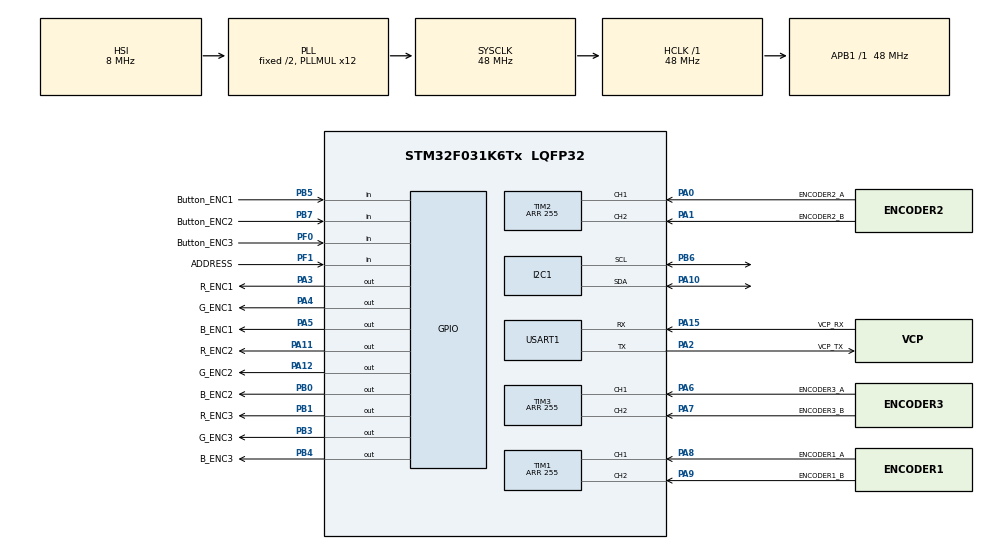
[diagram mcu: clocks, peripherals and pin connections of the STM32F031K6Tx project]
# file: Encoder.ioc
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Dma.I2C1_RX.0.Direction=DMA_PERIPH_TO_MEMORY
Dma.I2C1_RX.0.Instance=DMA1_Channel3
Dma.I2C1_RX.0.MemDataAlignment=DMA_MDATAALIGN_BYTE
Dma.I2C1_RX.0.MemInc=DMA_MINC_ENABLE
Dma.I2C1_RX.0.Mode=DMA_CIRCULAR
Dma.I2C1_RX.0.PeriphDataAlignment=DMA_PDATAALIGN_BYTE
Dma.I2C1_RX.0.PeriphInc=DMA_PINC_DISABLE
Dma.I2C1_RX.0.Priority=DMA_PRIORITY_VERY_HIGH
Dma.I2C1_TX.1.Direction=DMA_MEMORY_TO_PERIPH
Dma.I2C1_TX.1.Instance=DMA1_Channel2
Dma.I2C1_TX.1.MemDataAlignment=DMA_MDATAALIGN_BYTE
Dma.I2C1_TX.1.MemInc=DMA_MINC_ENABLE
Dma.I2C1_TX.1.Mode=DMA_CIRCULAR
Dma.I2C1_TX.1.PeriphDataAlignment=DMA_PDATAALIGN_BYTE
Dma.I2C1_TX.1.PeriphInc=DMA_PINC_DISABLE
Dma.I2C1_TX.1.Priority=DMA_PRIORITY_VERY_HIGH
Dma.Request0=I2C1_RX
Dma.Request1=I2C1_TX
FREERTOS.HEAP_NUMBER=4
FREERTOS.Tasks01=LED,0,96,ENCODER_TASK,Default,NULL,Dynamic,NULL,NULL
FREERTOS.configTOTAL_HEAP_SIZE=1000
FREERTOS.configUSE_CO_ROUTINES=1
I2C1.Analog_Filter=I2C_ANALOGFILTER_DISABLE
I2C1.GeneralCallMode=I2C_GENERALCALL_ENABLE
I2C1.NoStretchMode=I2C_NOSTRETCH_ENABLE
I2C1.OwnAddress=30
I2C1.Timing=0x00101D2D
Mcu.Family=STM32F0
Mcu.Name=STM32F031K6Tx
Mcu.Package=LQFP32
NVIC.DMA1_Channel2_3_IRQn=true\:3\:0\:false\:false\:true\:true\:false\:true
NVIC.I2C1_IRQn=true\:3\:0\:false\:false\:true\:true\:true\:true
NVIC.TIM14_IRQn=true\:0\:0\:false\:false\:true\:false\:false\:true
NVIC.TimeBase=TIM14_IRQn
NVIC.TimeBaseIP=TIM14
PA0.GPIO_Label=ENCODER2_A
PA0.GPIO_PuPd=GPIO_PULLUP
PA0.Signal=S_TIM2_CH1_ETR
PA1.GPIO_Label=ENCODER2_B
PA1.GPIO_PuPd=GPIO_PULLUP
PA1.Signal=S_TIM2_CH2
PA10.Mode=I2C
PA10.Signal=I2C1_SDA
PA11.GPIO_Label=R_ENC2
PA11.Signal=GPIO_Output
PA12.GPIO_Label=G_ENC2
PA12.Signal=GPIO_Output
PA13.GPIO_Label=SWDIO
PA13.Mode=Serial_Wire
PA13.Signal=SYS_SWDIO
PA14.GPIO_Label=SWCLK
PA14.Mode=Serial_Wire
PA14.Signal=SYS_SWCLK
PA15.GPIO_Label=VCP_RX
PA15.Mode=Asynchronous
PA15.Signal=USART1_RX
PA2.GPIO_Label=VCP_TX
PA2.Mode=Asynchronous
PA2.Signal=USART1_TX
PA3.GPIO_Label=R_ENC1
PA3.Signal=GPIO_Output
PA4.GPIO_Label=G_ENC1
PA4.Signal=GPIO_Output
PA5.GPIO_Label=B_ENC1
PA5.Signal=GPIO_Output
PA6.GPIO_Label=ENCODER3_A
PA6.GPIO_PuPd=GPIO_PULLUP
PA6.Signal=S_TIM3_CH1
PA7.GPIO_Label=ENCODER3_B
PA7.GPIO_PuPd=GPIO_PULLUP
PA7.Signal=S_TIM3_CH2
PA8.GPIO_Label=ENCODER1_A
PA8.GPIO_PuPd=GPIO_PULLUP
PA8.Signal=S_TIM1_CH1
PA9.GPIO_Label=ENCODER1_B
PA9.GPIO_PuPd=GPIO_PULLUP
PA9.Signal=S_TIM1_CH2
PB0.GPIO_Label=B_ENC2
PB0.Signal=GPIO_Output
PB1.GPIO_Label=R_ENC3
PB1.Signal=GPIO_Output
PB3.GPIO_Label=G_ENC3
PB3.Signal=GPIO_Output
PB4.GPIO_Label=B_ENC3
PB4.Signal=GPIO_Output
PB5.GPIO_Label=Button_ENC1
PB5.Signal=GPIO_Input
PB6.Mode=I2C
PB6.Signal=I2C1_SCL
PB7.GPIO_Label=Button_ENC2
PB7.Signal=GPIO_Input
PF0-OSC_IN.GPIO_Label=Button_ENC3
PF0-OSC_IN.Signal=GPIO_Input
PF1-OSC_OUT.GPIO_Label=ADDRESS
PF1-OSC_OUT.Signal=GPIO_Input
ProjectManager.HeapSize=0x200
ProjectManager.StackSize=0x400
ProjectManager.TargetToolchain=SW4STM32
RCC.AHBFreq_Value=48000000
RCC.APB1Freq_Value=48000000
RCC.APB1TimFreq_Value=48000000
RCC.HCLKFreq_Value=48000000
RCC.PLLMUL=RCC_PLL_MUL12
RCC.SYSCLKFreq_VALUE=48000000
RCC.SYSCLKSource=RCC_SYSCLKSOURCE_PLLCLK
SH.S_TIM1_CH1.0=TIM1_CH1,Encoder_Interface
SH.S_TIM1_CH2.0=TIM1_CH2,Encoder_Interface
SH.S_TIM2_CH1_ETR.0=TIM2_CH1,Encoder_Interface
SH.S_TIM2_CH2.0=TIM2_CH2,Encoder_Interface
SH.S_TIM3_CH1.0=TIM3_CH1,Encoder_Interface
SH.S_TIM3_CH2.0=TIM3_CH2,Encoder_Interface
TIM1.EncoderMode=TIM_ENCODERMODE_TI12
TIM1.IC1Filter=0
TIM1.IC1Polarity=TIM_ICPOLARITY_FALLING
TIM1.IC2Filter=0
TIM1.IC2Polarity=TIM_ICPOLARITY_FALLING
TIM1.Period=255
TIM16.Period=10000
TIM16.Prescaler=48
TIM2.EncoderMode=TIM_ENCODERMODE_TI12
TIM2.IC1Filter=0
TIM2.IC1Polarity=TIM_ICPOLARITY_FALLING
TIM2.IC2Polarity=TIM_ICPOLARITY_FALLING
TIM2.Period=255
TIM3.IC1Filter=0
TIM3.IC1Polarity=TIM_ICPOLARITY_FALLING
TIM3.IC2Filter=0
TIM3.IC2Polarity=TIM_ICPOLARITY_FALLING
TIM3.Period=255
USART1.VirtualMode-Asynchronous=VM_ASYNC
VP_FREERTOS_VS_CMSIS_V1.Mode=CMSIS_V1
VP_SYS_VS_tim14.Mode=TIM14
VP_TIM16_VS_ClockSourceINT.Mode=Enable_Timer
board=NUCLEO-F031K6

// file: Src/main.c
/* USER CODE BEGIN Header */
/**
  ******************************************************************************
  * @file           : main.c
  * @brief          : Main program body
  ******************************************************************************
  * @attention
  *
  * <h2><center>&copy; Copyright (c) 2019 STMicroelectronics.
  * All rights reserved.</center></h2>
  *
  * This software component is licensed by ST under Ultimate Liberty license
  * SLA0044, the "License"; You may not use this file except in compliance with
  * the License. You may obtain a copy of the License at:
  *                             www.st.com/SLA0044
  *
  ******************************************************************************
  */
/* USER CODE END Header */

#include "main.h"
#include "cmsis_os.h"

I2C_HandleTypeDef hi2c1;
DMA_HandleTypeDef hdma_i2c1_rx;
DMA_HandleTypeDef hdma_i2c1_tx;

TIM_HandleTypeDef htim1;
TIM_HandleTypeDef htim2;
TIM_HandleTypeDef htim3;
TIM_HandleTypeDef htim16;

UART_HandleTypeDef huart1;

osThreadId LEDHandle;

void SystemClock_Config(void);
static void MX_GPIO_Init(void);
static void MX_I2C1_Init(void);
static void MX_TIM1_Init(void);
static void MX_TIM2_Init(void);
static void MX_TIM3_Init(void);
static void MX_USART1_UART_Init(void);
static void MX_TIM16_Init(void);
static void MX_DMA_Init(void);
void ENCODER_TASK(void const * argument);

/* USER CODE BEGIN 0 */
uint32_t ENC1;
uint32_t ENC2;
uint32_t ENC3;

uint8_t R_ENC1 = 100;
uint8_t G_ENC1 = 50;
uint8_t B_ENC1 = 0;

uint8_t R_ENC2 = 100;
uint8_t G_ENC2 = 50;
uint8_t B_ENC2 = 0;

uint8_t R_ENC3 = 100;
uint8_t G_ENC3 = 50;
uint8_t B_ENC3 = 0;

uint8_t I2C_data = 0;

uint8_t aTxBuffer[] = "ENCODER123";

/* Buffer used for reception */
uint8_t aRxBuffer[10];

//uint32_t Encoder_CODE;
uint8_t buttonstate;

int adress=0;
/* USER CODE END 0 */

int main(void)
{

  /* MCU Configuration--------------------------------------------------------*/

  /* Reset of all peripherals, Initializes the Flash interface and the Systick. */
  HAL_Init();

  /* Configure the system clock */
  SystemClock_Config();

  /* Initialize all configured peripherals */
  MX_GPIO_Init();

  adress = HAL_GPIO_ReadPin(GPIOF,ADDRESS_Pin);

  MX_I2C1_Init();
  MX_TIM1_Init();
  MX_TIM2_Init();
  MX_TIM3_Init();
  MX_USART1_UART_Init();
  MX_TIM16_Init();
  MX_DMA_Init();
  /* USER CODE BEGIN 2 */

  HAL_TIM_Encoder_Start(&htim1,TIM_CHANNEL_ALL);
  HAL_TIM_Encoder_Start(&htim2,TIM_CHANNEL_ALL);
  HAL_TIM_Encoder_Start(&htim3,TIM_CHANNEL_ALL);

  //HAL_I2C_Slave_Transmit_DMA(&hi2c1,aTxBuffer,1);

  /* USER CODE END 2 */

  /* Create the thread(s) */
  /* definition and creation of LED */
  osThreadDef(LED, ENCODER_TASK, osPriorityNormal, 0, 96);
  LEDHandle = osThreadCreate(osThread(LED), NULL);

  /* Start scheduler */
  osKernelStart();

  /* We should never get here as control is now taken by the scheduler */

  /* Infinite loop */
  while (1)
  {

  }
}

void SystemClock_Config(void)
{
  RCC_OscInitTypeDef RCC_OscInitStruct = {0};
  RCC_ClkInitTypeDef RCC_ClkInitStruct = {0};
  RCC_PeriphCLKInitTypeDef PeriphClkInit = {0};

  /** Initializes the CPU, AHB and APB busses clocks
  */
  RCC_OscInitStruct.OscillatorType = RCC_OSCILLATORTYPE_HSI;
  RCC_OscInitStruct.HSIState = RCC_HSI_ON;
  RCC_OscInitStruct.HSICalibrationValue = RCC_HSICALIBRATION_DEFAULT;
  RCC_OscInitStruct.PLL.PLLState = RCC_PLL_ON;
  RCC_OscInitStruct.PLL.PLLSource = RCC_PLLSOURCE_HSI;
  RCC_OscInitStruct.PLL.PLLMUL = RCC_PLL_MUL12;
  RCC_OscInitStruct.PLL.PREDIV = RCC_PREDIV_DIV1;
  if (HAL_RCC_OscConfig(&RCC_OscInitStruct) != HAL_OK)
  {
    Error_Handler();
  }
  /** Initializes the CPU, AHB and APB busses clocks
  */
  RCC_ClkInitStruct.ClockType = RCC_CLOCKTYPE_HCLK|RCC_CLOCKTYPE_SYSCLK
                              |RCC_CLOCKTYPE_PCLK1;
  RCC_ClkInitStruct.SYSCLKSource = RCC_SYSCLKSOURCE_PLLCLK;
  RCC_ClkInitStruct.AHBCLKDivider = RCC_SYSCLK_DIV1;
  RCC_ClkInitStruct.APB1CLKDivider = RCC_HCLK_DIV1;

  if (HAL_RCC_ClockConfig(&RCC_ClkInitStruct, FLASH_LATENCY_1) != HAL_OK)
  {
    Error_Handler();
  }
  PeriphClkInit.PeriphClockSelection = RCC_PERIPHCLK_USART1|RCC_PERIPHCLK_I2C1;
  PeriphClkInit.Usart1ClockSelection = RCC_USART1CLKSOURCE_PCLK1;
  PeriphClkInit.I2c1ClockSelection = RCC_I2C1CLKSOURCE_HSI;
  if (HAL_RCCEx_PeriphCLKConfig(&PeriphClkInit) != HAL_OK)
  {
    Error_Handler();
  }
}

static void MX_I2C1_Init(void)
{

  /* USER CODE BEGIN I2C1_Init 0 */
	int ownAddress1 = 0;
	if (adress == 0){
		ownAddress1 = 40;
	}
	if (adress == 1){
		ownAddress1 = 30;
	}

  /* USER CODE END I2C1_Init 0 */

  hi2c1.Instance = I2C1;
  hi2c1.Init.Timing = 0x00101D2D;
  hi2c1.Init.OwnAddress1 = ownAddress1;
  hi2c1.Init.AddressingMode = I2C_ADDRESSINGMODE_7BIT;
  hi2c1.Init.DualAddressMode = I2C_DUALADDRESS_DISABLE;
  hi2c1.Init.OwnAddress2 = 0;
  hi2c1.Init.OwnAddress2Masks = I2C_OA2_NOMASK;
  hi2c1.Init.GeneralCallMode = I2C_GENERALCALL_ENABLE;
  hi2c1.Init.NoStretchMode = I2C_NOSTRETCH_ENABLE;
  if (HAL_I2C_Init(&hi2c1) != HAL_OK)
  {
    Error_Handler();
  }
  /** Configure Analogue filter
  */
  if (HAL_I2CEx_ConfigAnalogFilter(&hi2c1, I2C_ANALOGFILTER_ENABLE) != HAL_OK)
  {
    Error_Handler();
  }
  /** Configure Digital filter
  */
  if (HAL_I2CEx_ConfigDigitalFilter(&hi2c1, 0) != HAL_OK)
  {
    Error_Handler();
  }

}

static void MX_TIM1_Init(void)
{

  TIM_Encoder_InitTypeDef sConfig = {0};
  TIM_MasterConfigTypeDef sMasterConfig = {0};

  htim1.Instance = TIM1;
  htim1.Init.Prescaler = 0;
  htim1.Init.CounterMode = TIM_COUNTERMODE_UP;
  htim1.Init.Period = 1024;
  htim1.Init.ClockDivision = TIM_CLOCKDIVISION_DIV1;
  //htim1.Init.RepetitionCounter = 0;
  htim1.Init.AutoReloadPreload = TIM_AUTORELOAD_PRELOAD_DISABLE;
  sConfig.EncoderMode = TIM_ENCODERMODE_TI12;
  sConfig.IC1Polarity = TIM_ICPOLARITY_FALLING;
  sConfig.IC1Selection = TIM_ICSELECTION_DIRECTTI;
  sConfig.IC1Prescaler = TIM_ICPSC_DIV1;
  sConfig.IC1Filter = 0;
  sConfig.IC2Polarity = TIM_ICPOLARITY_FALLING;
  sConfig.IC2Selection = TIM_ICSELECTION_DIRECTTI;
  sConfig.IC2Prescaler = TIM_ICPSC_DIV1;
  sConfig.IC2Filter = 0;
  if (HAL_TIM_Encoder_Init(&htim1, &sConfig) != HAL_OK)
  {
    Error_Handler();
  }
  sMasterConfig.MasterOutputTrigger = TIM_TRGO_RESET;
  sMasterConfig.MasterSlaveMode = TIM_MASTERSLAVEMODE_DISABLE;
  if (HAL_TIMEx_MasterConfigSynchronization(&htim1, &sMasterConfig) != HAL_OK)
  {
    Error_Handler();
  }

}

static void MX_TIM2_Init(void)
{

  TIM_Encoder_InitTypeDef sConfig = {0};
  TIM_MasterConfigTypeDef sMasterConfig = {0};

  htim2.Instance = TIM2;
  htim2.Init.Prescaler = 0;
  htim2.Init.CounterMode = TIM_COUNTERMODE_UP;
  htim2.Init.Period = 1024;
  htim2.Init.ClockDivision = TIM_CLOCKDIVISION_DIV1;
  htim2.Init.AutoReloadPreload = TIM_AUTORELOAD_PRELOAD_DISABLE;
  sConfig.EncoderMode = TIM_ENCODERMODE_TI12;
  sConfig.IC1Polarity = TIM_ICPOLARITY_FALLING;
  sConfig.IC1Selection = TIM_ICSELECTION_DIRECTTI;
  sConfig.IC1Prescaler = TIM_ICPSC_DIV1;
  sConfig.IC1Filter = 0;
  sConfig.IC2Polarity = TIM_ICPOLARITY_FALLING;
  sConfig.IC2Selection = TIM_ICSELECTION_DIRECTTI;
  sConfig.IC2Prescaler = TIM_ICPSC_DIV1;
  sConfig.IC2Filter = 0;
  if (HAL_TIM_Encoder_Init(&htim2, &sConfig) != HAL_OK)
  {
    Error_Handler();
  }
  sMasterConfig.MasterOutputTrigger = TIM_TRGO_RESET;
  sMasterConfig.MasterSlaveMode = TIM_MASTERSLAVEMODE_DISABLE;
  if (HAL_TIMEx_MasterConfigSynchronization(&htim2, &sMasterConfig) != HAL_OK)
  {
    Error_Handler();
  }

}

static void MX_TIM3_Init(void)
{

  TIM_Encoder_InitTypeDef sConfig = {0};
  TIM_MasterConfigTypeDef sMasterConfig = {0};

  htim3.Instance = TIM3;
  htim3.Init.Prescaler = 0;
  htim3.Init.CounterMode = TIM_COUNTERMODE_UP;
  htim3.Init.Period = 1024;
  htim3.Init.ClockDivision = TIM_CLOCKDIVISION_DIV1;
  htim3.Init.AutoReloadPreload = TIM_AUTORELOAD_PRELOAD_DISABLE;
  sConfig.EncoderMode = TIM_ENCODERMODE_TI12;
  sConfig.IC1Polarity = TIM_ICPOLARITY_FALLING;
  sConfig.IC1Selection = TIM_ICSELECTION_DIRECTTI;
  sConfig.IC1Prescaler = TIM_ICPSC_DIV1;
  sConfig.IC1Filter = 0;
  sConfig.IC2Polarity = TIM_ICPOLARITY_FALLING;
  sConfig.IC2Selection = TIM_ICSELECTION_DIRECTTI;
  sConfig.IC2Prescaler = TIM_ICPSC_DIV1;
  sConfig.IC2Filter = 0;
  if (HAL_TIM_Encoder_Init(&htim3, &sConfig) != HAL_OK)
  {
    Error_Handler();
  }
  sMasterConfig.MasterOutputTrigger = TIM_TRGO_RESET;
  sMasterConfig.MasterSlaveMode = TIM_MASTERSLAVEMODE_DISABLE;
  if (HAL_TIMEx_MasterConfigSynchronization(&htim3, &sMasterConfig) != HAL_OK)
  {
    Error_Handler();
  }

}

static void MX_TIM16_Init(void)
{

  htim16.Instance = TIM16;
  htim16.Init.Prescaler = 48;
  htim16.Init.CounterMode = TIM_COUNTERMODE_UP;
  htim16.Init.Period = 10000;
  htim16.Init.ClockDivision = TIM_CLOCKDIVISION_DIV1;
  htim16.Init.RepetitionCounter = 0;
  htim16.Init.AutoReloadPreload = TIM_AUTORELOAD_PRELOAD_DISABLE;
  if (HAL_TIM_Base_Init(&htim16) != HAL_OK)
  {
    Error_Handler();
  }

}

static void MX_USART1_UART_Init(void)
{

  huart1.Instance = USART1;
  huart1.Init.BaudRate = 38400;
  huart1.Init.WordLength = UART_WORDLENGTH_8B;
  huart1.Init.StopBits = UART_STOPBITS_1;
  huart1.Init.Parity = UART_PARITY_NONE;
  huart1.Init.Mode = UART_MODE_TX_RX;
  huart1.Init.HwFlowCtl = UART_HWCONTROL_NONE;
  huart1.Init.OverSampling = UART_OVERSAMPLING_16;
  huart1.Init.OneBitSampling = UART_ONE_BIT_SAMPLE_DISABLE;
  huart1.AdvancedInit.AdvFeatureInit = UART_ADVFEATURE_NO_INIT;
  if (HAL_UART_Init(&huart1) != HAL_OK)
  {
    Error_Handler();
  }

}

static void MX_DMA_Init(void)
{

  /* DMA controller clock enable */
  __HAL_RCC_DMA1_CLK_ENABLE();

  /* DMA interrupt init */
  /* DMA1_Channel2_3_IRQn interrupt configuration */
  HAL_NVIC_SetPriority(DMA1_Channel2_3_IRQn, 3, 0);
  HAL_NVIC_EnableIRQ(DMA1_Channel2_3_IRQn);

}

static void MX_GPIO_Init(void)
{
  GPIO_InitTypeDef GPIO_InitStruct = {0};

  /* GPIO Ports Clock Enable */
  __HAL_RCC_GPIOF_CLK_ENABLE();
  __HAL_RCC_GPIOA_CLK_ENABLE();
  __HAL_RCC_GPIOB_CLK_ENABLE();

  /*Configure GPIO pin Output Level */
  HAL_GPIO_WritePin(GPIOA, R_ENC1_Pin|G_ENC1_Pin|B_ENC1_Pin|R_ENC2_Pin
                          |G_ENC2_Pin, GPIO_PIN_RESET);

  /*Configure GPIO pin Output Level */
  HAL_GPIO_WritePin(GPIOB, B_ENC2_Pin|R_ENC3_Pin|G_ENC3_Pin|B_ENC3_Pin, GPIO_PIN_RESET);

  /*Configure GPIO pins : Button_ENC3_Pin ADDRESS_Pin */
  GPIO_InitStruct.Pin = Button_ENC3_Pin;
  GPIO_InitStruct.Mode = GPIO_MODE_INPUT;
  GPIO_InitStruct.Pull = GPIO_PULLDOWN;
  HAL_GPIO_Init(GPIOF, &GPIO_InitStruct);

  GPIO_InitStruct.Pin = ADDRESS_Pin;
  GPIO_InitStruct.Mode = GPIO_MODE_INPUT;
  GPIO_InitStruct.Pull = GPIO_PULLUP;
  HAL_GPIO_Init(GPIOF, &GPIO_InitStruct);

  /*Configure GPIO pins : R_ENC1_Pin G_ENC1_Pin B_ENC1_Pin R_ENC2_Pin
                           G_ENC2_Pin */
  GPIO_InitStruct.Pin = R_ENC1_Pin|G_ENC1_Pin|B_ENC1_Pin|R_ENC2_Pin
                          |G_ENC2_Pin;
  GPIO_InitStruct.Mode = GPIO_MODE_OUTPUT_PP;
  GPIO_InitStruct.Pull = GPIO_NOPULL;
  GPIO_InitStruct.Speed = GPIO_SPEED_FREQ_LOW;
  HAL_GPIO_Init(GPIOA, &GPIO_InitStruct);

  /*Configure GPIO pins : B_ENC2_Pin R_ENC3_Pin G_ENC3_Pin B_ENC3_Pin */
  GPIO_InitStruct.Pin = B_ENC2_Pin|R_ENC3_Pin|G_ENC3_Pin|B_ENC3_Pin;
  GPIO_InitStruct.Mode = GPIO_MODE_OUTPUT_PP;
  GPIO_InitStruct.Pull = GPIO_NOPULL;
  GPIO_InitStruct.Speed = GPIO_SPEED_FREQ_LOW;
  HAL_GPIO_Init(GPIOB, &GPIO_InitStruct);

  /*Configure GPIO pins : Button_ENC1_Pin Button_ENC2_Pin */
  GPIO_InitStruct.Pin = Button_ENC1_Pin|Button_ENC2_Pin;
  GPIO_InitStruct.Mode = GPIO_MODE_INPUT;
  GPIO_InitStruct.Pull = GPIO_PULLDOWN;
  HAL_GPIO_Init(GPIOB, &GPIO_InitStruct);

}

/* USER CODE BEGIN 4 */
void HAL_I2C_SlaveRxCpltCallback(I2C_HandleTypeDef *hi2c)
{

	HAL_I2C_Slave_Transmit(&hi2c1,aTxBuffer,10,100);

	 R_ENC1 = 100;
	 R_ENC2 = 0;
	 R_ENC3 = 100;

	 if(R_ENC1 >= 100){R_ENC1=100;}
	 else {R_ENC1++;}
	 G_ENC1 = R_ENC1/2;
	 //if(R_ENC2 >= 100){R_ENC2=100;}
	 ///else {R_ENC2++;}
	 G_ENC2 = 0;
	 if(R_ENC3 >= 100){R_ENC3=100;}
	 else {R_ENC3++;}
	 G_ENC3 = R_ENC3/2;

}
/* USER CODE END 4 */

void ENCODER_TASK(void const * argument)
{
  /* USER CODE BEGIN 5 */

	int count=0;

  /* Infinite loop */
  for(;;)
  {

	ENC1 = (TIM1->CNT)/4;
	ENC2 = (TIM2->CNT)/4;
    ENC3 = (TIM3->CNT)/4;

    if(!HAL_GPIO_ReadPin(GPIOF,Button_ENC3_Pin)){
    	buttonstate |= 1<<2;
    }
    else{
    	buttonstate &= ~(1)<<2;
    }
    if(!HAL_GPIO_ReadPin(GPIOB,Button_ENC2_Pin)){
    	buttonstate |= 1<<1;
    }
    else{
    	buttonstate &= ~(1)<<1;
    }
    if(!HAL_GPIO_ReadPin(GPIOB,Button_ENC1_Pin)){
    	buttonstate |= 1<<0;
    }
    else{
    	buttonstate &= ~(1)<<0;
    }

    //A Ratio of about (R)38-(G)25-(B)0 gives nice yellow RATIO 1:2
	if (count>=100){count=0;}

	if (count < R_ENC1){HAL_GPIO_WritePin(GPIOA, R_ENC1_Pin,GPIO_PIN_RESET);}
	else{HAL_GPIO_WritePin(GPIOA, R_ENC1_Pin,GPIO_PIN_SET);}
	if (count < G_ENC1){HAL_GPIO_WritePin(GPIOA, G_ENC1_Pin,GPIO_PIN_RESET);}
	else{HAL_GPIO_WritePin(GPIOA, G_ENC1_Pin,GPIO_PIN_SET);}
	if (count < B_ENC1){HAL_GPIO_WritePin(GPIOA, B_ENC1_Pin,GPIO_PIN_RESET);}
	else{HAL_GPIO_WritePin(GPIOA, B_ENC1_Pin,GPIO_PIN_SET);}

	if (count < R_ENC2){HAL_GPIO_WritePin(GPIOA, R_ENC2_Pin,GPIO_PIN_RESET);}
	else{HAL_GPIO_WritePin(GPIOA, R_ENC2_Pin,GPIO_PIN_SET);}
	if (count < G_ENC2){HAL_GPIO_WritePin(GPIOA, G_ENC2_Pin,GPIO_PIN_RESET);}
	else{HAL_GPIO_WritePin(GPIOA, G_ENC2_Pin,GPIO_PIN_SET);}
	if (count < B_ENC2){HAL_GPIO_WritePin(GPIOB, B_ENC2_Pin,GPIO_PIN_RESET);}
	else{HAL_GPIO_WritePin(GPIOB, B_ENC2_Pin,GPIO_PIN_SET);}

	if (count < R_ENC3){HAL_GPIO_WritePin(GPIOB, R_ENC3_Pin,GPIO_PIN_RESET);}
	else{HAL_GPIO_WritePin(GPIOB, R_ENC3_Pin,GPIO_PIN_SET);}
	if (count < G_ENC3){HAL_GPIO_WritePin(GPIOB, G_ENC3_Pin,GPIO_PIN_RESET);}
	else{HAL_GPIO_WritePin(GPIOB, G_ENC3_Pin,GPIO_PIN_SET);}
	if (count < B_ENC3){HAL_GPIO_WritePin(GPIOB, B_ENC3_Pin,GPIO_PIN_RESET);}
	else{HAL_GPIO_WritePin(GPIOB, B_ENC3_Pin,GPIO_PIN_SET);}
	HAL_I2C_Slave_Receive_IT(&hi2c1,aRxBuffer,10);

    if(adress == 1){
    	aTxBuffer[5] = buttonstate;
        aTxBuffer[6]=ENC3;
        aTxBuffer[7]=ENC2;
        aTxBuffer[8]=ENC1;
    }
    else{
    	aTxBuffer[5] = buttonstate;
        aTxBuffer[6]=ENC1;
        aTxBuffer[7]=ENC2;
        aTxBuffer[8]=ENC3;
    }

	count++;

  }
  /* USER CODE END 5 */
}

void HAL_TIM_PeriodElapsedCallback(TIM_HandleTypeDef *htim)
{
  if (htim->Instance == TIM14) {
    HAL_IncTick();
  }
}

void Error_Handler(void)
{
}

/************************ (C) COPYRIGHT STMicroelectronics *****END OF FILE****/
